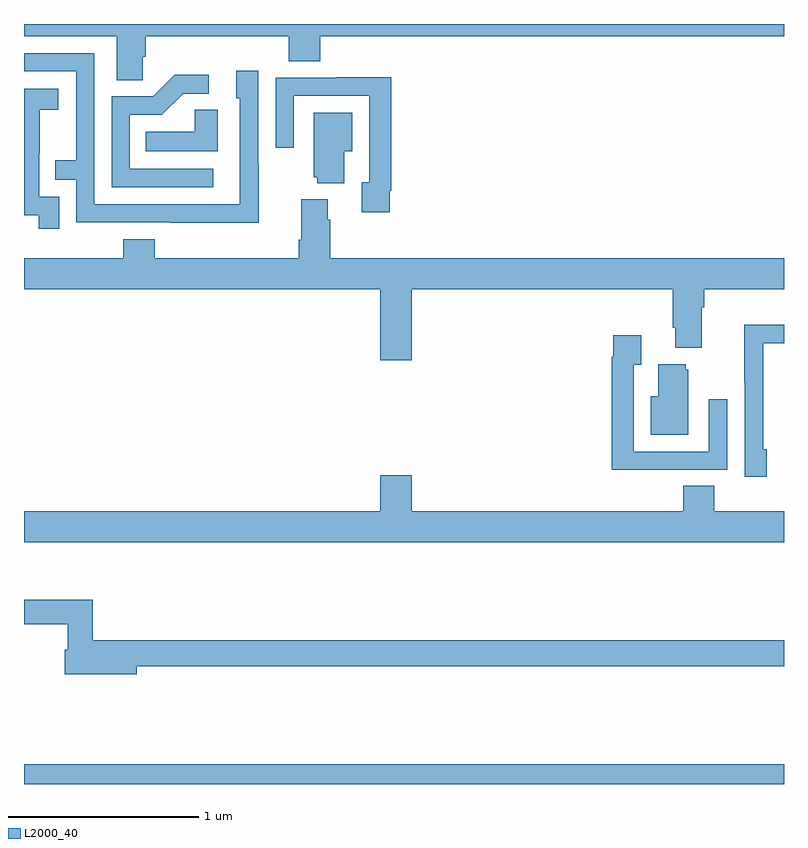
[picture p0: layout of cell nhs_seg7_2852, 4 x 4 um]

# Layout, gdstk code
import gdstk
lib = gdstk.Library(unit=1e-6, precision=1e-09)
def R(c, l, rs):  # rectangles x0, y0, x1, y1
    for r in rs: c.add(gdstk.rectangle(r[:2], r[2:], *l))
def P(c, l, *ps):  # polygons
    for p in ps: c.add(gdstk.Polygon(p, *l))
L2000_40 = (2000, 40)

nhs_seg7_2852 = lib.new_cell('nhs_seg7_2852')
R(nhs_seg7_2852, L2000_40, [(295,1010,299,1010.104)])
P(nhs_seg7_2852, L2000_40, [(295.626,1013.827),(295.64,1013.827),(295.64,1013.936),(296.393,1013.936),(296.393,1013.803),(296.558,1013.803),(296.558,1013.936),(299,1013.936),(299,1014),(295,1014),(295,1013.936),(295.487,1013.936),(295.487,1013.704),(295.626,1013.704)],
  [(296.235,1013.261),(296.232,1013.261),(296.232,1013.755),(296.117,1013.755),(296.117,1013.61),(296.136,1013.61),(296.136,1013.052),(295.371,1013.052),(295.371,1013.847),(295,1013.847),(295,1013.751),(295.275,1013.751),(295.275,1013.282),(295.165,1013.282),(295.165,1013.181),(295.275,1013.181),(295.275,1012.956),(295.771,1012.956),(295.771,1012.955),(296.235,1012.955)],
  [(295.996,1013.238),(295.557,1013.238),(295.557,1013.523),(295.726,1013.523),(295.837,1013.634),(295.972,1013.634),(295.972,1013.732),(295.793,1013.732),(295.68,1013.619),(295.461,1013.619),(295.461,1013.142),(295.996,1013.142)],
  [(296.926,1013.122),(296.933,1013.122),(296.933,1013.72),(296.641,1013.72),(296.641,1013.718),(296.325,1013.718),(296.325,1013.349),(296.421,1013.349),(296.421,1013.622),(296.817,1013.622),(296.817,1013.166),(296.777,1013.166),(296.777,1013.01),(296.926,1013.01)],
  [(295.185,1013.091),(295.08,1013.091),(295.08,1013.321),(295.082,1013.321),(295.082,1013.549),(295.18,1013.549),(295.18,1013.659),(295,1013.659),(295,1012.993),(295.077,1012.993),(295.077,1012.923),(295.185,1012.923)],
  [(296.02,1013.549),(295.899,1013.549),(295.899,1013.434),(295.642,1013.434),(295.642,1013.33),(296.02,1013.33)],
  [(296.686,1013.33),(296.728,1013.33),(296.728,1013.533),(296.525,1013.533),(296.525,1013.193),(296.543,1013.193),(296.543,1013.162),(296.686,1013.162)],
  [(296.612,1012.97),(296.599,1012.97),(296.599,1013.077),(296.459,1013.077),(296.459,1012.864),(296.447,1012.864),(296.447,1012.768),(295.688,1012.768),(295.688,1012.867),(295.523,1012.867),(295.523,1012.768),(295,1012.768),(295,1012.604),(296.876,1012.604),(296.876,1012.23),(297.04,1012.23),(297.04,1012.604),(298.415,1012.604),(298.415,1012.402),(298.427,1012.402),(298.427,1012.295),(298.567,1012.295),(298.567,1012.508),(298.58,1012.508),(298.58,1012.604),(299,1012.604),(299,1012.768),(296.612,1012.768)],
  [(298.909,1011.762),(298.89,1011.762),(298.89,1012.32),(299,1012.32),(299,1012.418),(298.792,1012.418),(298.792,1012.111),(298.794,1012.111),(298.794,1011.618),(298.909,1011.618)],
  [(298.385,1011.654),(298.701,1011.654),(298.701,1012.024),(298.605,1012.024),(298.605,1011.75),(298.209,1011.75),(298.209,1012.207),(298.249,1012.207),(298.249,1012.363),(298.101,1012.363),(298.101,1012.25),(298.093,1012.25),(298.093,1011.653),(298.385,1011.653)],
  [(298.495,1012.179),(298.484,1012.179),(298.484,1012.21),(298.337,1012.21),(298.337,1012.042),(298.298,1012.042),(298.298,1011.839),(298.495,1011.839)],
  [(299,1011.436),(298.634,1011.436),(298.634,1011.569),(298.469,1011.569),(298.469,1011.436),(297.04,1011.436),(297.04,1011.625),(296.876,1011.625),(296.876,1011.436),(295,1011.436),(295,1011.272),(299,1011.272)],
  [(295.594,1010.62),(299,1010.62),(299,1010.756),(295.361,1010.756),(295.361,1010.971),(295,1010.971),(295,1010.842),(295.229,1010.842),(295.229,1010.707),(295.214,1010.707),(295.214,1010.578),(295.594,1010.578)])

lib.write_gds('nhs_seg7_2852.gds')
